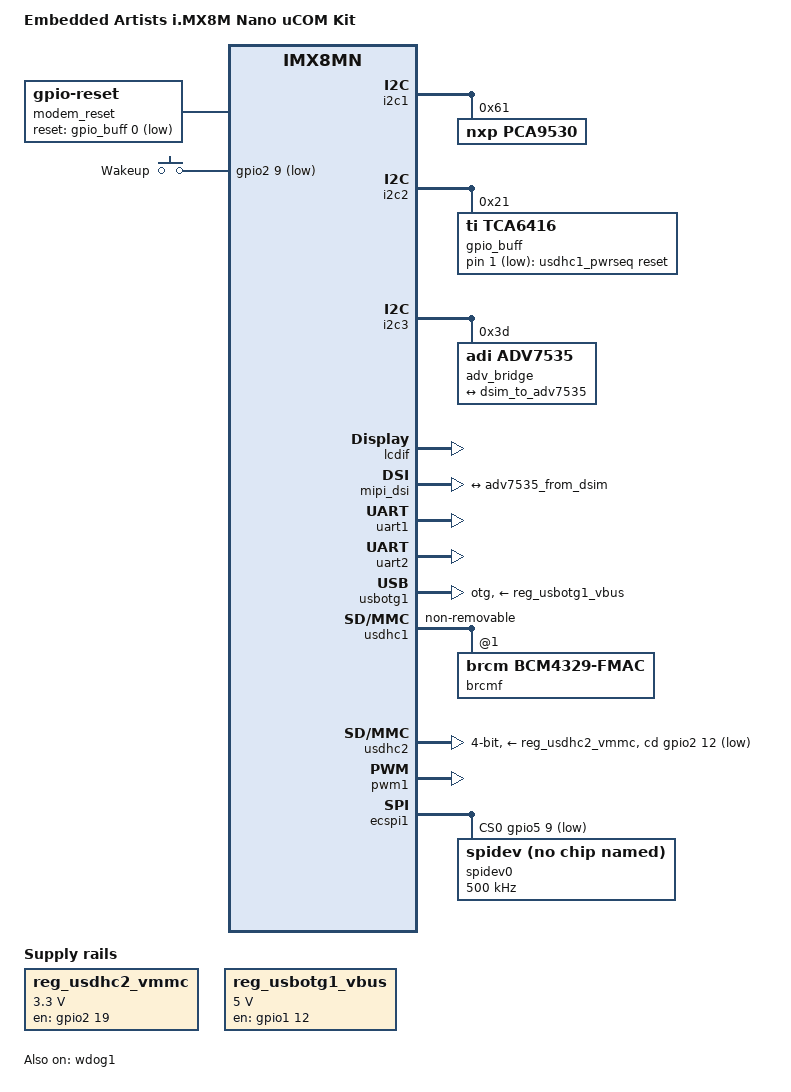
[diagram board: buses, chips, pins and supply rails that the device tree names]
/*
 * Copyright 2020 Embedded Artists AB
 *
 * This program is free software; you can redistribute it and/or
 * modify it under the terms of the GNU General Public License
 * as published by the Free Software Foundation; either version 2
 * of the License, or (at your option) any later version.
 *
 * This program is distributed in the hope that it will be useful,
 * but WITHOUT ANY WARRANTY; without even the implied warranty of
 * MERCHANTABILITY or FITNESS FOR A PARTICULAR PURPOSE.  See the
 * GNU General Public License for more details.
 */

/dts-v1/;

#include "imx8mn-ea-ucom.dtsi"
#include <dt-bindings/leds/leds-pca9532.h>
#include <dt-bindings/input/input.h>

/ {
	model = "Embedded Artists i.MX8M Nano uCOM Kit";
	compatible = "fsl,imx8mnea-ucom", "fsl,imx8mn";

	chosen {
		bootargs = "console=ttymxc1,115200 earlycon=ec_imx6q,0x30890000,115200";
		stdout-path = &uart2;
	};

	modem_reset: modem-reset {
		compatible = "gpio-reset";
		reset-gpios = <&gpio_buff 0 GPIO_ACTIVE_LOW>;
		initially-in-reset;
		reset-delay-us = <2000>;
		reset-post-delay-ms = <100>;
		#reset-cells = <0>;
	};

	gpio_keys: gpio-keys {
		compatible = "gpio-keys";
		pinctrl-names = "default";
		pinctrl-0 = <&pinctrl_usdhc1_gpio>;

		wakeup_btn: wakeup-btn {
			label = "Wakeup";
			gpios = <&gpio2 9 GPIO_ACTIVE_LOW>;
			linux,code = <KEY_WAKEUP>;
			wakeup-source;
			debounce-interval = <10>;
		};
	};

	regulators {
		compatible = "simple-bus";
		#address-cells = <1>;
		#size-cells = <0>;

		reg_usdhc2_vmmc: regulator-usdhc2 {
			compatible = "regulator-fixed";
			regulator-name = "VSD_3V3";
			regulator-min-microvolt = <3300000>;
			regulator-max-microvolt = <3300000>;
			gpio = <&gpio2 19 GPIO_ACTIVE_HIGH>;
			off-on-delay = <20000>;
			enable-active-high;
		};

		reg_usbotg1_vbus: regulator-usbotg1 {
			compatible = "regulator-fixed";
			regulator-name = "usbotg_vbus";
			regulator-min-microvolt = <5000000>;
			regulator-max-microvolt = <5000000>;
			gpio = <&gpio1 12 GPIO_ACTIVE_HIGH>;
			off-on-delay = <20000>;
			enable-active-high;
		};

		/* add construct for "fmac" to control WL_REG_ON signal */
		usdhc1_pwrseq: usdhc1_pwrseq {
			compatible = "mmc-pwrseq-simple";
			reset-gpios = <&gpio_buff 1 GPIO_ACTIVE_LOW>; /* WL REG ON */
			post-power-on-delay-ms = <120>;
			status = "okay";
		};

	};

};

&iomuxc {
	pinctrl-names = "default";

	imx8mnea-ucom-kit {

		pinctrl_mipi_dsi_en: mipi_dsi_en {
			fsl,pins = <
				MX8MN_IOMUXC_GPIO1_IO08_GPIO1_IO8		0x16
			>;
		};

		pinctrl_uart1: uart1grp {
			fsl,pins = <
				MX8MN_IOMUXC_UART1_RXD_UART1_DCE_RX	0x140
				MX8MN_IOMUXC_UART1_TXD_UART1_DCE_TX	0x140
				MX8MN_IOMUXC_UART3_RXD_UART1_DCE_CTS_B	0x140
				MX8MN_IOMUXC_UART3_TXD_UART1_DCE_RTS_B	0x140
			>;
		};

		pinctrl_uart2: uart2grp {
			fsl,pins = <
				MX8MN_IOMUXC_UART2_RXD_UART2_DCE_RX	0x140
				MX8MN_IOMUXC_UART2_TXD_UART2_DCE_TX	0x140
			>;
		};

		pinctrl_usdhc1_gpio: usdhc1grpgpio {
			fsl,pins = <
				MX8MN_IOMUXC_SD1_DATA7_GPIO2_IO9	0x1c4

			>;
		};

		pinctrl_usdhc1: usdhc1grp {
			fsl,pins = <
				MX8MN_IOMUXC_SD1_CLK_USDHC1_CLK		0x190
				MX8MN_IOMUXC_SD1_CMD_USDHC1_CMD		0x1d0
				MX8MN_IOMUXC_SD1_DATA0_USDHC1_DATA0	0x1d0
				MX8MN_IOMUXC_SD1_DATA1_USDHC1_DATA1	0x1d0
				MX8MN_IOMUXC_SD1_DATA2_USDHC1_DATA2	0x1d0
				MX8MN_IOMUXC_SD1_DATA3_USDHC1_DATA3	0x1d0
			>;
		};

		pinctrl_usdhc1_100mhz: usdhc1grp100mhz {
			fsl,pins = <
				MX8MN_IOMUXC_SD1_CLK_USDHC1_CLK		0x194
				MX8MN_IOMUXC_SD1_CMD_USDHC1_CMD		0x1d4
				MX8MN_IOMUXC_SD1_DATA0_USDHC1_DATA0	0x1d4
				MX8MN_IOMUXC_SD1_DATA1_USDHC1_DATA1	0x1d4
				MX8MN_IOMUXC_SD1_DATA2_USDHC1_DATA2	0x1d4
				MX8MN_IOMUXC_SD1_DATA3_USDHC1_DATA3	0x1d4
			>;
		};

		pinctrl_usdhc1_200mhz: usdhc1grp200mhz {
			fsl,pins = <
				MX8MN_IOMUXC_SD1_CLK_USDHC1_CLK		0x192
				MX8MN_IOMUXC_SD1_CMD_USDHC1_CMD		0x1d4
				MX8MN_IOMUXC_SD1_DATA0_USDHC1_DATA0	0x1d4
				MX8MN_IOMUXC_SD1_DATA1_USDHC1_DATA1	0x1d4
				MX8MN_IOMUXC_SD1_DATA2_USDHC1_DATA2	0x1d4
				MX8MN_IOMUXC_SD1_DATA3_USDHC1_DATA3	0x1d4
			>;
		};

		pinctrl_usdhc2_gpio: usdhc2grpgpio {
			fsl,pins = <
				MX8MN_IOMUXC_SD2_RESET_B_GPIO2_IO19     0x41
				MX8MN_IOMUXC_SD2_CD_B_GPIO2_IO12	0x1c4
			>;
		};

		pinctrl_usdhc2: usdhc2grp {
			fsl,pins = <
				MX8MN_IOMUXC_SD2_CLK_USDHC2_CLK		0x190
				MX8MN_IOMUXC_SD2_CMD_USDHC2_CMD		0x1d0
				MX8MN_IOMUXC_SD2_DATA0_USDHC2_DATA0	0x1d0
				MX8MN_IOMUXC_SD2_DATA1_USDHC2_DATA1	0x1d0
				MX8MN_IOMUXC_SD2_DATA2_USDHC2_DATA2	0x1d0
				MX8MN_IOMUXC_SD2_DATA3_USDHC2_DATA3	0x1d0
				MX8MN_IOMUXC_GPIO1_IO04_USDHC2_VSELECT	0x1d0
			>;
		};

		pinctrl_usdhc2_100mhz: usdhc2grp100mhz {
			fsl,pins = <
				MX8MN_IOMUXC_SD2_CLK_USDHC2_CLK		0x194
				MX8MN_IOMUXC_SD2_CMD_USDHC2_CMD		0x1d4
				MX8MN_IOMUXC_SD2_DATA0_USDHC2_DATA0	0x1d4
				MX8MN_IOMUXC_SD2_DATA1_USDHC2_DATA1	0x1d4
				MX8MN_IOMUXC_SD2_DATA2_USDHC2_DATA2	0x1d4
				MX8MN_IOMUXC_SD2_DATA3_USDHC2_DATA3	0x1d4
				MX8MN_IOMUXC_GPIO1_IO04_USDHC2_VSELECT	0x1d0
			>;
		};

		pinctrl_usdhc2_200mhz: usdhc2grp200mhz {
			fsl,pins = <
				MX8MN_IOMUXC_SD2_CLK_USDHC2_CLK		0x196
				MX8MN_IOMUXC_SD2_CMD_USDHC2_CMD		0x1d6
				MX8MN_IOMUXC_SD2_DATA0_USDHC2_DATA0	0x1d6
				MX8MN_IOMUXC_SD2_DATA1_USDHC2_DATA1	0x1d6
				MX8MN_IOMUXC_SD2_DATA2_USDHC2_DATA2	0x1d6
				MX8MN_IOMUXC_SD2_DATA3_USDHC2_DATA3	0x1d6
				MX8MN_IOMUXC_GPIO1_IO04_USDHC2_VSELECT	0x1d0
			>;
		};

		pinctrl_wdog: wdoggrp {
			fsl,pins = <
				MX8MN_IOMUXC_GPIO1_IO02_WDOG1_WDOG_B		0xc6
			>;
		};

		pinctrl_pwm1: pwm1grp {
			fsl,pins = <
				MX8MN_IOMUXC_GPIO1_IO01_PWM1_OUT		0x06
			>;
		};

		pinctrl_usbotg1: usbotg1grp {
			fsl,pins = <
				MX8MN_IOMUXC_GPIO1_IO12_GPIO1_IO12		0x1d6
				MX8MN_IOMUXC_GPIO1_IO13_USB1_OTG_OC		0x1d6
			>;
		};

		pinctrl_ecspi1: ecspi1grp {
			fsl,pins = <
				MX8MN_IOMUXC_ECSPI1_SCLK_ECSPI1_SCLK		0x82  /* MIKROE-SCK */
				MX8MN_IOMUXC_ECSPI1_MOSI_ECSPI1_MOSI		0x82  /* MIKROE-MOSI */
				MX8MN_IOMUXC_ECSPI1_MISO_ECSPI1_MISO		0x82  /* MIKROE-MISO */
				MX8MN_IOMUXC_ECSPI1_SS0_GPIO5_IO9		0x40000 /* MIKROE-CS */
				MX8MN_IOMUXC_GPIO1_IO07_GPIO1_IO7		0x40000 /* MIKROE-INT */
			>;
		};
	};
};

&i2c1 {
	pca9530: pca9530@61 {
		compatible = "nxp,pca9530";
		reg = <0x61>;

		led0 {
			label = "PCA_PWM0";
			type = <PCA9532_TYPE_LED>;
		};

		led1 {
			label = "PCA_PWM1_LED17";
			type = <PCA9532_TYPE_LED>;
		};
	};
};

&i2c2 {

	gpio_buff: pca6416@21 {
		compatible = "ti,tca6416";
		reg = <0x21>;
		gpio-controller;
		#gpio-cells = <2>;
		gpio-line-names = "BT_REG_ON", "WL_REG_ON", "DISP_MIPI_RST",
			"BT_DEV_WAKE", "USER_RGB_LED_RED", "USER_RGB_LED_BLUE",
			"USER_RGB_LED_GREEN", "PCIE_PERST_L", "M2_B_DISABLE",
			"M2_B_PWR_OFF", "LCD_BL_PWR", "SDIO_RST",
			"SE05X_ENA", "USER_BTN", "USER_LED_RED", "USER_LED_GREEN";
	};
};

&i2c3 {
	adv_bridge: adv7535@3d {
		compatible = "adi,adv7535";
		reg = <0x3d>;
		adi,dsi-lanes = <4>;
		status = "okay";

		port {
			adv7535_from_dsim: endpoint {
				remote-endpoint = <&dsim_to_adv7535>;
			};
		};
	};
};

&lcdif {
	status = "okay";
};

&mipi_dsi {
	status = "okay";

	port@1 {
		dsim_to_adv7535: endpoint {
			remote-endpoint = <&adv7535_from_dsim>;
			attach-bridge;
		};
	};
};

&uart1 { /* Bluetooth UART */
	pinctrl-names = "default";
	pinctrl-0 = <&pinctrl_uart1>;
	status = "okay";

	assigned-clocks = <&clk IMX8MN_CLK_UART1>;
	assigned-clock-parents = <&clk IMX8MN_SYS_PLL1_80M>;

	resets = <&modem_reset>;
	fsl,uart-has-rtscts;
};

&uart2 { /* Console */
	pinctrl-names = "default";
	pinctrl-0 = <&pinctrl_uart2>;
	status = "okay";
};

&uart3 { /* Disabled as pins are used by Bluetooth for RTS/CTS */
	status = "disabled";
};

&usbotg1 {
	pinctrl-names = "default";
	pinctrl-0 = <&pinctrl_usbotg1>;

	dr_mode = "otg";
	picophy,pre-emp-curr-control = <3>;
	picophy,dc-vol-level-adjust = <7>;

	vbus-supply = <&reg_usbotg1_vbus>;
	over-current-active-low;

	status = "okay";

};

/* M.2 connector */
&usdhc1 {
	#address-cells = <1>;
	#size-cells = <0>;
	pinctrl-names = "default", "state_100mhz", "state_200mhz";
	pinctrl-0 = <&pinctrl_usdhc1>;
	pinctrl-1 = <&pinctrl_usdhc1_100mhz>;
	pinctrl-2 = <&pinctrl_usdhc1_200mhz>;
	keep-power-in-suspend;
	non-removable;
	pm-ignore-notify;
	mmc-pwrseq = <&usdhc1_pwrseq>;
	status = "okay";
	brcmf: bcrmf@1 {
		reg = <1>;
		compatible = "brcm,bcm4329-fmac";
	};
};

/* uSD connector on carrier board */
&usdhc2 {
	pinctrl-names = "default", "state_100mhz", "state_200mhz";
	pinctrl-0 = <&pinctrl_usdhc2>, <&pinctrl_usdhc2_gpio>;
	pinctrl-1 = <&pinctrl_usdhc2_100mhz>, <&pinctrl_usdhc2_gpio>;
	pinctrl-2 = <&pinctrl_usdhc2_200mhz>, <&pinctrl_usdhc2_gpio>;
	bus-width = <4>;
	cd-gpios = <&gpio2 12 GPIO_ACTIVE_LOW>;
	vmmc-supply = <&reg_usdhc2_vmmc>;
	status = "okay";
};

&wdog1 {
	pinctrl-names = "default";
	pinctrl-0 = <&pinctrl_wdog>;
	fsl,ext-reset-output;
	status = "okay";
};

&pwm1 {
	status= "okay";
	pinctrl-names = "default";
	pinctrl-0 = <&pinctrl_pwm1>;
};

/* SPI interface for the MIKROE connector. Can also be used for the SPI interface
   of the 2EL M.2 module (requires uCOM Carrier Board rev B or later). */
&ecspi1 {
	#address-cells = <1>;
	#size-cells = <0>;
	fsl,spi-num-chipselects = <1>;
	pinctrl-names = "default";
	pinctrl-0 = <&pinctrl_ecspi1>;
	cs-gpios = <&gpio5 9 GPIO_ACTIVE_LOW>;
	status = "okay";

	spidev0: spi@0 {
		reg = <0>;
		compatible = "rohm,dh2228fv";
		spi-max-frequency = <500000>;
	};
};

